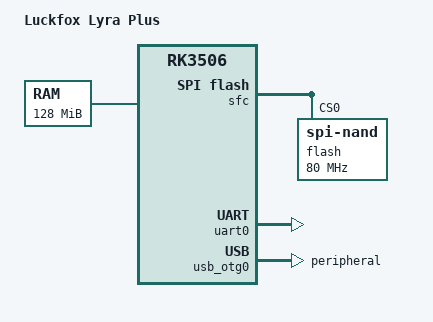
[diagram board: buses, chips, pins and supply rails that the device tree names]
// SPDX-License-Identifier: (GPL-2.0+ OR MIT)
/*
 * Copyright (c) 2023 Rockchip Electronics Co., Ltd.
 */

/dts-v1/;

#include "rk3506.dtsi"

/ {
	model = "Luckfox Lyra Plus";
	compatible = "luckfox,lyra-plus", "rockchip,rk3506";

	chosen {
		stdout-path = "serial0:1500000n8";

		/*
		 * The bottom 2 MiB of DRAM is not available to Linux: OP-TEE
		 * owns 0x0-0x62000 (trust@0 in rk3506.dtsi) and the memory
		 * firewall makes it inaccessible from normal world, while the
		 * bootloader places the kernel dtb at 0x63000 and ramoops at
		 * 0x83000.
		 *
		 * memory@0 below still has to describe all of DRAM, because
		 * that is what the TPL/SPL writes there. Without this property
		 * AUTO_ZRELADDR derives the start of physical memory by
		 * masking the program counter, gets 0x0, and
		 * fdt_check_mem_start() accepts it because memory@0 starts at
		 * 0. The decompressor then places its 16 KiB identity page
		 * directory at zreladdr - 16384 = 0x4000 and the kernel at
		 * 0x8000, both inside the firewalled range. Every write
		 * aborts, in cache_on and before decompress_kernel(), so the
		 * board dies without printing a single character - not even
		 * with earlycon or CONFIG_DEBUG_LL.
		 *
		 * Same pattern, and the same 2 MiB offset, as
		 * arch/arm/boot/dts/airoha/en7523-evb.dts, where the
		 * bootloader installs ATF at the bottom of DRAM.
		 */
		linux,usable-memory-range = <0x00200000 0x07e00000>;
	};

	/*
	 * The Lyra Plus carries 128 MiB of DDR3L. The TPL/SPL rewrites this
	 * node with the size it actually trained, so the value here only
	 * matters when booting the DTB standalone.
	 */
	memory@0 {
		device_type = "memory";
		reg = <0x00000000 0x08000000>;
	};
};

&sfc {
	pinctrl-names = "default";
	pinctrl-0 = <&fspi_clk_pins &fspi_csn_pins &fspi_bus4_pins>;
	status = "okay";

	/*
	 * 256 MiB SPI NAND, the boot medium: the BootROM and the TPL/SPL come
	 * from here, and U-Boot reports "SPI Nand ID ef aa 22".
	 *
	 * Frequency and bus widths as the vendor board dts
	 * (rk3506-luckfox-lyra.dtsi:1245-1254). The vendor node carries no
	 * pinctrl; the three groups are named here because the binding example
	 * does so and because relying on the bootloader having left the pins
	 * muxed is not something to depend on.
	 */
	flash@0 {
		compatible = "spi-nand";
		reg = <0>;
		spi-max-frequency = <80000000>;
		spi-rx-bus-width = <4>;
		spi-tx-bus-width = <1>;
	};
};

&uart0 {
	pinctrl-names = "default";
	pinctrl-0 = <&uart0_xfer_pins>;
	status = "okay";
};

/*
 * The USB-C port. "peripheral" and nothing else, exactly as the vendor board
 * dts (rk3506g-luckfox-lyra-plus.dts:64-67): no vbus-supply, no pinctrl - the
 * USB data pins are dedicated, not muxed.
 */
&usb_otg0 {
	dr_mode = "peripheral";
	status = "okay";
};
